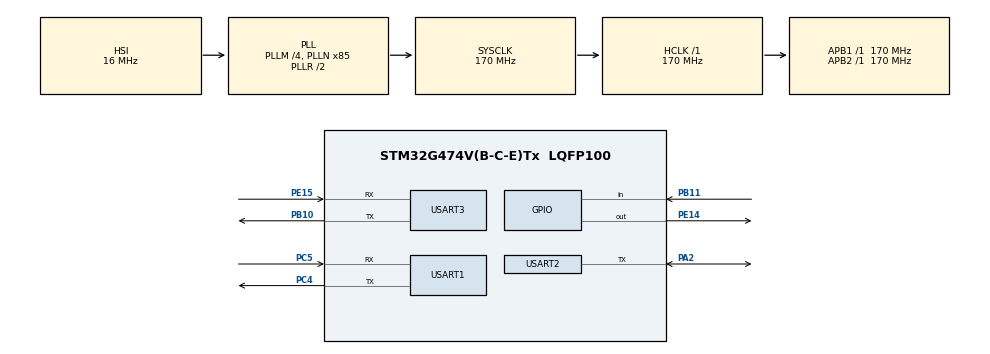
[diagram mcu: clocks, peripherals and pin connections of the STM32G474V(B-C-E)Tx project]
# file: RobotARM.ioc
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FREERTOS.HEAP_NUMBER=4
FREERTOS.INCLUDE_eTaskGetState=1
FREERTOS.INCLUDE_pcTaskGetTaskName=0
FREERTOS.INCLUDE_uxTaskGetStackHighWaterMark=0
FREERTOS.INCLUDE_uxTaskPriorityGet=1
FREERTOS.INCLUDE_vTaskCleanUpResources=1
FREERTOS.INCLUDE_vTaskDelay=1
FREERTOS.INCLUDE_vTaskDelayUntil=1
FREERTOS.INCLUDE_vTaskDelete=1
FREERTOS.INCLUDE_vTaskPrioritySet=1
FREERTOS.INCLUDE_vTaskSuspend=1
FREERTOS.INCLUDE_xEventGroupSetBitFromISR=0
FREERTOS.INCLUDE_xQueueGetMutexHolder=1
FREERTOS.INCLUDE_xSemaphoreGetMutexHolder=0
FREERTOS.INCLUDE_xTaskAbortDelay=0
FREERTOS.INCLUDE_xTaskGetCurrentTaskHandle=0
FREERTOS.INCLUDE_xTaskGetHandle=0
FREERTOS.INCLUDE_xTaskResumeFromISR=1
FREERTOS.MEMORY_ALLOCATION=0
FREERTOS.Tasks01=defaultTask,0,128,StartDefaultTask,Default,NULL,Dynamic,NULL,NULL
FREERTOS.configCHECK_FOR_STACK_OVERFLOW=0
FREERTOS.configENABLE_BACKWARD_COMPATIBILITY=1
FREERTOS.configGENERATE_RUN_TIME_STATS=0
FREERTOS.configIDLE_SHOULD_YIELD=1
FREERTOS.configLIBRARY_LOWEST_INTERRUPT_PRIORITY=15
FREERTOS.configLIBRARY_MAX_SYSCALL_INTERRUPT_PRIORITY=5
FREERTOS.configMAX_CO_ROUTINE_PRIORITIES=2
FREERTOS.configMAX_PRIORITIES=7
FREERTOS.configMAX_TASK_NAME_LEN=16
FREERTOS.configMINIMAL_STACK_SIZE=128
FREERTOS.configQUEUE_REGISTRY_SIZE=8
FREERTOS.configRECORD_STACK_HIGH_ADDRESS=0
FREERTOS.configTICK_RATE_HZ=1000
FREERTOS.configTOTAL_HEAP_SIZE=2048
FREERTOS.configUSE_APPLICATION_TASK_TAG=0
FREERTOS.configUSE_COUNTING_SEMAPHORES=1
FREERTOS.configUSE_CO_ROUTINES=0
FREERTOS.configUSE_DAEMON_TASK_STARTUP_HOOK=0
FREERTOS.configUSE_IDLE_HOOK=0
FREERTOS.configUSE_MALLOC_FAILED_HOOK=0
FREERTOS.configUSE_MUTEXES=1
FREERTOS.configUSE_NEWLIB_REENTRANT=0
FREERTOS.configUSE_PREEMPTION=1
FREERTOS.configUSE_RECURSIVE_MUTEXES=1
FREERTOS.configUSE_STATS_FORMATTING_FUNCTIONS=0
FREERTOS.configUSE_TASK_NOTIFICATIONS=1
FREERTOS.configUSE_TICKLESS_IDLE=0
FREERTOS.configUSE_TICK_HOOK=0
FREERTOS.configUSE_TIMERS=0
FREERTOS.configUSE_TRACE_FACILITY=1
FREERTOS.copyHeapFile=1
Mcu.Family=STM32G4
Mcu.Name=STM32G474V(B-C-E)Tx
Mcu.Package=LQFP100
NVIC.PriorityGroup=NVIC_PRIORITYGROUP_4
NVIC.TIM6_DAC_IRQn=true\:0\:0\:false\:false\:true\:false\:true\:true\:true
NVIC.TimeBase=TIM6_DAC_IRQn
NVIC.TimeBaseIP=TIM6
NVIC.USART3_IRQn=true\:5\:0\:false\:false\:true\:true\:true\:true\:true
PA13.Mode=Trace_Asynchronous_SW
PA13.Signal=SYS_JTMS-SWDIO
PA14.Mode=Trace_Asynchronous_SW
PA14.Signal=SYS_JTCK-SWCLK
PA2.Mode=Half_duplex(single_wire_mode)
PA2.Signal=USART2_TX
PB10.Mode=Asynchronous
PB10.Signal=USART3_TX
PB11.Signal=GPIO_Input
PB3.Mode=Trace_Asynchronous_SW
PB3.Signal=SYS_JTDO-SWO
PC4.Mode=Asynchronous
PC4.Signal=USART1_TX
PC5.Mode=Asynchronous
PC5.Signal=USART1_RX
PE14.Signal=GPIO_Output
PE15.Mode=Asynchronous
PE15.Signal=USART3_RX
ProjectManager.HeapSize=0x200
ProjectManager.StackSize=0x400
ProjectManager.TargetToolchain=CMake
RCC.ADC12Freq_Value=170000000
RCC.ADC345Freq_Value=170000000
RCC.AHBFreq_Value=170000000
RCC.APB1Freq_Value=170000000
RCC.APB1TimFreq_Value=170000000
RCC.APB2Freq_Value=170000000
RCC.APB2TimFreq_Value=170000000
RCC.CortexFreq_Value=170000000
RCC.EXTERNAL_CLOCK_VALUE=12288000
RCC.HCLKFreq_Value=170000000
RCC.HSE_VALUE=8000000
RCC.HSI48_VALUE=48000000
RCC.HSI_VALUE=16000000
RCC.LSE_VALUE=32768
RCC.PLLM=RCC_PLLM_DIV4
RCC.PLLN=85
RCC.SYSCLKFreq_VALUE=170000000
RCC.SYSCLKSource=RCC_SYSCLKSOURCE_PLLCLK
RCC.USBFreq_Value=170000000
RCC.VCOOutputFreq_Value=340000000
USART1.VirtualMode-Asynchronous=VM_ASYNC
USART2.VirtualMode-Half_duplex(single_wire_mode)=VM_ASYNC
USART3.VirtualMode-Asynchronous=VM_ASYNC
VP_FREERTOS_VS_CMSIS_V1.Mode=CMSIS_V1
VP_SYS_VS_DBSignals.Mode=DisableDeadBatterySignals
VP_SYS_VS_tim6.Mode=TIM6
board=custom

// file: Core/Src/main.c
/* USER CODE BEGIN Header */
/**
 ******************************************************************************
 * @file           : main.c
 * @brief          : Main program body
 ******************************************************************************
 * @attention
 *
 * Copyright (c) 2026 STMicroelectronics.
 * All rights reserved.
 *
 * This software is licensed under terms that can be found in the LICENSE file
 * in the root directory of this software component.
 * If no LICENSE file comes with this software, it is provided AS-IS.
 *
 ******************************************************************************
 */
/* USER CODE END Header */
#include "main.h"
#include "cmsis_os.h"

/* USER CODE BEGIN Includes */

#include "dynamixel.h"

/* USER CODE END Includes */

/* USER CODE BEGIN PTD */
typedef struct {
  int32_t sensor_anchor_0;
  int32_t sensor_anchor_1;
  int32_t sensor_anchor_2;
  uint16_t dxl_anchor_0;
  uint16_t dxl_anchor_1;
  uint16_t dxl_anchor_2;
} BluetoothServoMap;

/* USER CODE END PTD */

UART_HandleTypeDef huart1;
UART_HandleTypeDef huart2;
UART_HandleTypeDef huart3;

osThreadId defaultTaskHandle;
/* USER CODE BEGIN PV */

#define UART1_RX_BUF_SIZE 64U
#define UART3_RX_BUF_SIZE 64U
volatile uint8_t g_uart1_rx_byte;
volatile uint8_t g_uart1_rx_buf[UART1_RX_BUF_SIZE];
volatile uint8_t g_uart1_rx_index = 0U;
volatile uint8_t g_uart1_rx_ready = 0U;
volatile uint8_t g_uart3_rx_byte;
volatile uint8_t g_uart3_rx_buf[UART3_RX_BUF_SIZE];
volatile uint8_t g_uart3_rx_index = 0U;
volatile uint8_t g_uart3_rx_ready = 0U;

static const BluetoothServoMap g_bluetooth_servo_maps[DXL_SERVO_COUNT] = {
    {-90, 0, 90, 2644U, 1628U, 623U},
    {-90, 0, 90, 268U, 562U, 876U},
    {1023, 512, 0, 739U, 450U, 162U},
    {1023, 512, 0, 824U, 507U, 190U},
    {-90, 0, 90, 775U, 450U, 202U},
    {1023, 512, 0, 851U, 551U, 253U},
};

volatile uint16_t g_expected_positions[DXL_SERVO_COUNT] = {1628U, 876U, 528U,
                                                           824U,  490U, 530U};

/* USER CODE END PV */

void SystemClock_Config(void);
static void MX_GPIO_Init(void);
static void MX_USART1_UART_Init(void);
static void MX_USART2_UART_Init(void);
static void MX_USART3_UART_Init(void);
void StartDefaultTask(void const *argument);

/* USER CODE BEGIN PFP */

static void Console_WriteString(const char *text);
static const char *Dxl_StatusToString(DxlStatus status);

static uint8_t Bluetooth_ParseSignedValue(const volatile uint8_t *buffer, uint8_t *index, int32_t *value)
{
  uint8_t i;
  int32_t sign = 1;
  int32_t parsed_value = 0;
  uint8_t has_digit = 0U;

  if ((buffer == NULL) || (index == NULL) || (value == NULL)) {
    return 0U;
  }

  i = *index;

  if (buffer[i] == '-') {
    sign = -1;
    ++i;
  }

  while ((buffer[i] >= '0') && (buffer[i] <= '9')) {
    parsed_value = (parsed_value * 10) + (int32_t)(buffer[i] - '0');
    has_digit = 1U;
    ++i;
  }

  if (!has_digit) {
    return 0U;
  }

  if ((buffer[i] != ',') && (buffer[i] != '\0')) {
    return 0U;
  }

  *value = parsed_value * sign;
  *index = i;
  return 1U;
}

static int32_t Bluetooth_MapLinearClamped(int32_t input,
                                          int32_t input_start,
                                          int32_t input_end,
                                          int32_t output_start,
                                          int32_t output_end)
{
  int32_t clamped_input = input;
  int32_t input_low;
  int32_t input_high;
  int64_t numerator;
  int32_t denominator;

  if (input_start == input_end) {
    return output_start;
  }

  input_low = (input_start < input_end) ? input_start : input_end;
  input_high = (input_start < input_end) ? input_end : input_start;

  if (clamped_input < input_low) {
    clamped_input = input_low;
  } else if (clamped_input > input_high) {
    clamped_input = input_high;
  }

  numerator = (int64_t)(clamped_input - input_start) * (int64_t)(output_end - output_start);
  denominator = input_end - input_start;

  return output_start + (int32_t)(numerator / denominator);
}

static uint16_t Bluetooth_MapSensorToGoal(uint8_t servo_index, int32_t sensor_value)
{
  const BluetoothServoMap *map;
  int32_t mapped_goal;

  if (servo_index >= DXL_SERVO_COUNT) {
    return 0U;
  }

  map = &g_bluetooth_servo_maps[servo_index];

  if (map->sensor_anchor_0 <= map->sensor_anchor_2) {
    if (sensor_value <= map->sensor_anchor_0) {
      return map->dxl_anchor_0;
    }
    if (sensor_value >= map->sensor_anchor_2) {
      return map->dxl_anchor_2;
    }
    if (sensor_value <= map->sensor_anchor_1) {
      mapped_goal = Bluetooth_MapLinearClamped(sensor_value,
                                               map->sensor_anchor_0,
                                               map->sensor_anchor_1,
                                               (int32_t)map->dxl_anchor_0,
                                               (int32_t)map->dxl_anchor_1);
    } else {
      mapped_goal = Bluetooth_MapLinearClamped(sensor_value,
                                               map->sensor_anchor_1,
                                               map->sensor_anchor_2,
                                               (int32_t)map->dxl_anchor_1,
                                               (int32_t)map->dxl_anchor_2);
    }
  } else {
    if (sensor_value >= map->sensor_anchor_0) {
      return map->dxl_anchor_0;
    }
    if (sensor_value <= map->sensor_anchor_2) {
      return map->dxl_anchor_2;
    }
    if (sensor_value >= map->sensor_anchor_1) {
      mapped_goal = Bluetooth_MapLinearClamped(sensor_value,
                                               map->sensor_anchor_0,
                                               map->sensor_anchor_1,
                                               (int32_t)map->dxl_anchor_0,
                                               (int32_t)map->dxl_anchor_1);
    } else {
      mapped_goal = Bluetooth_MapLinearClamped(sensor_value,
                                               map->sensor_anchor_1,
                                               map->sensor_anchor_2,
                                               (int32_t)map->dxl_anchor_1,
                                               (int32_t)map->dxl_anchor_2);
    }
  }

  if (mapped_goal < 0) {
    return 0U;
  }

  return (uint16_t)mapped_goal;
}

static uint8_t Motion_ParseSensorFrame(const volatile uint8_t *buffer,
                                       uint16_t positions[DXL_SERVO_COUNT])
{
  int32_t sensor_values[DXL_SERVO_COUNT] = {0};
  uint8_t count = 0U;
  uint8_t i = 2U;

  if ((buffer == NULL) || (positions == NULL)) {
    return 0U;
  }

  if ((buffer[0] != 'P') || (buffer[1] != ',')) {
    return 0U;
  }

  while (buffer[i] != '\0') {
    if (count >= DXL_SERVO_COUNT) {
      return 0U;
    }

    if (!Bluetooth_ParseSignedValue(buffer, &i, &sensor_values[count])) {
      return 0U;
    }

    ++count;

    if (buffer[i] == ',') {
      ++i;

      if (buffer[i] == '\0') {
        return 0U;
      }
    }
  }

  if (count != DXL_SERVO_COUNT) {
    return 0U;
  }

  for (i = 0U; i < DXL_SERVO_COUNT; ++i) {
    positions[i] = Bluetooth_MapSensorToGoal(i, sensor_values[i]);
  }

  return 1U;
}

static void Motion_ExecuteSensorFrame(const volatile uint8_t *buffer,
                                      const char *source_tag)
{
  uint16_t positions[DXL_SERVO_COUNT] = {0};
  DxlStatus status;

  if (!Motion_ParseSensorFrame(buffer, positions)) {
    Console_WriteString("\r\n[");
    Console_WriteString(source_tag);
    Console_WriteString("] Invalid parameter format\r\n> ");
    return;
  }

  status = Dxl_MoveArmSafe(positions);
  if (status == DXL_STATUS_OK) {
    Console_WriteString("\r\n[");
    Console_WriteString(source_tag);
    Console_WriteString("] Move OK\r\n> ");
  } else {
    Console_WriteString("\r\n[");
    Console_WriteString(source_tag);
    Console_WriteString("] Move Failed: ");
    Console_WriteString(Dxl_StatusToString(status));
    Console_WriteString("\r\n> ");
  }
}

static void Bluetooth_ProcessCommand(void)
{
  if (!g_uart3_rx_ready) {
    return;
  }

  g_uart3_rx_ready = 0U;

  if (g_uart3_rx_buf[0] == 'P' && g_uart3_rx_buf[1] == ',') {
    Motion_ExecuteSensorFrame(g_uart3_rx_buf, "BT");
  }
}

static void Console_WriteString(const char *text) {
  size_t length = 0U;

  if (text == NULL) {
    return;
  }

  while (text[length] != '\0') {
    ++length;
  }

  if (length > 0U) {
    (void)HAL_UART_Transmit(&huart1, (uint8_t *)text, (uint16_t)length, 100U);
  }
}

static void Console_PrintBanner(void) {
  Console_WriteString("\r\nRobotARM ready\r\n");
  Console_WriteString("h: move home\r\n");
  Console_WriteString("s: move stretched\r\n");
  Console_WriteString("?: show help\r\n> ");
}

static void Console_ProcessCommand(void) {
  if (!g_uart1_rx_ready) {
    return;
  }

  g_uart1_rx_ready = 0U;

  if ((g_uart1_rx_buf[0] == 'P') && (g_uart1_rx_buf[1] == ',')) {
    Motion_ExecuteSensorFrame(g_uart1_rx_buf, "UART1");
    return;
  }

  switch (g_uart1_rx_buf[0]) {
  case 'h':
  case 'H':
    g_arm_move_request = ARM_MOVE_REQUEST_HOME;
    Console_WriteString("\r\nHOME requested\r\n> ");
    break;

  case 's':
  case 'S':
    g_arm_move_request = ARM_MOVE_REQUEST_STRETCHED;
    Console_WriteString("\r\nSTRETCHED requested\r\n> ");
    break;

  case '?':
  case 'm':
  case 'M':
    Console_WriteString("\r\nh: move home\r\n");
    Console_WriteString("s: move stretched\r\n");
    Console_WriteString("?: show help\r\n> ");
    break;

  case '\r':
  case '\n':
  case '\0':
    break;

  default:
    Console_WriteString("\r\nUnknown command\r\n> ");
    break;
  }
}

static void Console_WriteUInt(uint32_t value) {
  char buffer[11];
  uint8_t index = 0U;

  if (value == 0U) {
    Console_WriteString("0");
    return;
  }

  while ((value > 0U) && (index < (uint8_t)sizeof(buffer))) {
    buffer[index] = (char)('0' + (value % 10U));
    value /= 10U;
    ++index;
  }

  while (index > 0U) {
    --index;
    (void)HAL_UART_Transmit(&huart1, (uint8_t *)&buffer[index], 1U, 100U);
  }
}

static const char *Dxl_StatusToString(DxlStatus status) {
  switch (status) {
  case DXL_STATUS_OK:
    return "OK";
  case DXL_STATUS_ERROR:
    return "ERROR";
  case DXL_STATUS_TIMEOUT:
    return "TIMEOUT";
  case DXL_STATUS_BAD_PARAM:
    return "BAD_PARAM";
  case DXL_STATUS_BAD_PACKET:
    return "BAD_PACKET";
  case DXL_STATUS_BAD_CHECKSUM:
    return "BAD_CHECKSUM";
  case DXL_STATUS_HAL_ERROR:
    return "HAL_ERROR";
  case DXL_STATUS_RANGE:
    return "RANGE";
  default:
    return "UNKNOWN";
  }
}

static void Console_ReportArmMoveStatus(uint32_t request, DxlStatus status) {
  const char *pose_name;

  if (request == ARM_MOVE_REQUEST_HOME) {
    pose_name = "HOME";
  } else if (request == ARM_MOVE_REQUEST_STRETCHED) {
    pose_name = "STRETCHED";
  } else {
    pose_name = "UNKNOWN";
  }

  Console_WriteString("\r\n");
  Console_WriteString(pose_name);
  Console_WriteString(" move ");
  Console_WriteString((status == DXL_STATUS_OK) ? "done" : "failed");
  Console_WriteString(" (");
  Console_WriteString(Dxl_StatusToString(status));
  Console_WriteString(")\r\n> ");
}

static void Console_ReportServoDebugState(void) {
  uint8_t index;

  for (index = 0U; index < DXL_SERVO_COUNT; ++index) {
    uint8_t id = g_dxl_servo_configs[index].id;
    uint8_t torque_enabled = 0U;
    uint8_t torque_error = 0xFFU;
    uint16_t goal_position = 0U;
    uint8_t goal_error = 0xFFU;
    DxlPresentPosition present_position;
    DxlStatus torque_status;
    DxlStatus goal_status;
    DxlStatus present_status;

    torque_status = Dxl_ReadTorqueEnable(id, &torque_enabled, &torque_error);
    goal_status = Dxl_ReadGoalPosition(id, &goal_position, &goal_error);
    present_status = Dxl_GetPresentPosition(id, &present_position);

    Console_WriteString("ID");
    Console_WriteUInt(id);
    Console_WriteString(" T=");
    if (torque_status == DXL_STATUS_OK) {
      Console_WriteUInt(torque_enabled);
    } else {
      Console_WriteString("ERR:");
      Console_WriteString(Dxl_StatusToString(torque_status));
    }

    Console_WriteString(" G=");
    if (goal_status == DXL_STATUS_OK) {
      Console_WriteUInt(goal_position);
    } else {
      Console_WriteString("ERR:");
      Console_WriteString(Dxl_StatusToString(goal_status));
    }

    Console_WriteString(" P=");
    if ((present_status == DXL_STATUS_OK) && (present_position.valid != 0U)) {
      Console_WriteUInt(present_position.position);
    } else {
      Console_WriteString("ERR");
    }

    Console_WriteString("\r\n");
  }

  Console_WriteString("> ");
}

/* USER CODE END 0 */

int main(void) {

  /* MCU Configuration--------------------------------------------------------*/

  /* Reset of all peripherals, Initializes the Flash interface and the Systick.
   */
  HAL_Init();

  /* Configure the system clock */
  SystemClock_Config();

  /* Initialize all configured peripherals */
  MX_GPIO_Init();
  MX_USART1_UART_Init();
  MX_USART2_UART_Init();
  MX_USART3_UART_Init();
  /* USER CODE BEGIN 2 */

  Dxl_Init(&huart2);
  Console_PrintBanner();
  HAL_UART_Receive_IT(&huart1, (uint8_t *)&g_uart1_rx_byte, 1U);
  HAL_UART_Receive_IT(&huart3, (uint8_t *)&g_uart3_rx_byte, 1U);

  /* USER CODE END 2 */

  /* Create the thread(s) */
  /* definition and creation of defaultTask */
  osThreadDef(defaultTask, StartDefaultTask, osPriorityNormal, 0, 128);
  defaultTaskHandle = osThreadCreate(osThread(defaultTask), NULL);

  /* Start scheduler */
  osKernelStart();

  /* We should never get here as control is now taken by the scheduler */

  /* Infinite loop */
  while (1) {

    /* USER CODE BEGIN 3 */
    /* Scheduler owns application execution after osKernelStart(). */
  }
  /* USER CODE END 3 */
}

void SystemClock_Config(void) {
  RCC_OscInitTypeDef RCC_OscInitStruct = {0};
  RCC_ClkInitTypeDef RCC_ClkInitStruct = {0};

  /** Configure the main internal regulator output voltage
   */
  HAL_PWREx_ControlVoltageScaling(PWR_REGULATOR_VOLTAGE_SCALE1_BOOST);

  /** Initializes the RCC Oscillators according to the specified parameters
   * in the RCC_OscInitTypeDef structure.
   */
  RCC_OscInitStruct.OscillatorType = RCC_OSCILLATORTYPE_HSI;
  RCC_OscInitStruct.HSIState = RCC_HSI_ON;
  RCC_OscInitStruct.HSICalibrationValue = RCC_HSICALIBRATION_DEFAULT;
  RCC_OscInitStruct.PLL.PLLState = RCC_PLL_ON;
  RCC_OscInitStruct.PLL.PLLSource = RCC_PLLSOURCE_HSI;
  RCC_OscInitStruct.PLL.PLLM = RCC_PLLM_DIV4;
  RCC_OscInitStruct.PLL.PLLN = 85;
  RCC_OscInitStruct.PLL.PLLP = RCC_PLLP_DIV2;
  RCC_OscInitStruct.PLL.PLLQ = RCC_PLLQ_DIV2;
  RCC_OscInitStruct.PLL.PLLR = RCC_PLLR_DIV2;
  if (HAL_RCC_OscConfig(&RCC_OscInitStruct) != HAL_OK) {
    Error_Handler();
  }

  /** Initializes the CPU, AHB and APB buses clocks
   */
  RCC_ClkInitStruct.ClockType = RCC_CLOCKTYPE_HCLK | RCC_CLOCKTYPE_SYSCLK |
                                RCC_CLOCKTYPE_PCLK1 | RCC_CLOCKTYPE_PCLK2;
  RCC_ClkInitStruct.SYSCLKSource = RCC_SYSCLKSOURCE_PLLCLK;
  RCC_ClkInitStruct.AHBCLKDivider = RCC_SYSCLK_DIV1;
  RCC_ClkInitStruct.APB1CLKDivider = RCC_HCLK_DIV1;
  RCC_ClkInitStruct.APB2CLKDivider = RCC_HCLK_DIV1;

  if (HAL_RCC_ClockConfig(&RCC_ClkInitStruct, FLASH_LATENCY_4) != HAL_OK) {
    Error_Handler();
  }
}

static void MX_USART1_UART_Init(void) {

  huart1.Instance = USART1;
  huart1.Init.BaudRate = 115200;
  huart1.Init.WordLength = UART_WORDLENGTH_8B;
  huart1.Init.StopBits = UART_STOPBITS_1;
  huart1.Init.Parity = UART_PARITY_NONE;
  huart1.Init.Mode = UART_MODE_TX_RX;
  huart1.Init.HwFlowCtl = UART_HWCONTROL_NONE;
  huart1.Init.OverSampling = UART_OVERSAMPLING_16;
  huart1.Init.OneBitSampling = UART_ONE_BIT_SAMPLE_DISABLE;
  huart1.Init.ClockPrescaler = UART_PRESCALER_DIV1;
  huart1.AdvancedInit.AdvFeatureInit = UART_ADVFEATURE_NO_INIT;
  if (HAL_UART_Init(&huart1) != HAL_OK) {
    Error_Handler();
  }
  if (HAL_UARTEx_SetTxFifoThreshold(&huart1, UART_TXFIFO_THRESHOLD_1_8) !=
      HAL_OK) {
    Error_Handler();
  }
  if (HAL_UARTEx_SetRxFifoThreshold(&huart1, UART_RXFIFO_THRESHOLD_1_8) !=
      HAL_OK) {
    Error_Handler();
  }
  if (HAL_UARTEx_DisableFifoMode(&huart1) != HAL_OK) {
    Error_Handler();
  }
}

static void MX_USART2_UART_Init(void) {

  huart2.Instance = USART2;
  huart2.Init.BaudRate = 115200;
  huart2.Init.WordLength = UART_WORDLENGTH_8B;
  huart2.Init.StopBits = UART_STOPBITS_1;
  huart2.Init.Parity = UART_PARITY_NONE;
  huart2.Init.Mode = UART_MODE_TX_RX;
  huart2.Init.HwFlowCtl = UART_HWCONTROL_NONE;
  huart2.Init.OverSampling = UART_OVERSAMPLING_16;
  huart2.Init.OneBitSampling = UART_ONE_BIT_SAMPLE_DISABLE;
  huart2.Init.ClockPrescaler = UART_PRESCALER_DIV1;
  huart2.AdvancedInit.AdvFeatureInit = UART_ADVFEATURE_NO_INIT;
  if (HAL_HalfDuplex_Init(&huart2) != HAL_OK) {
    Error_Handler();
  }
  if (HAL_UARTEx_SetTxFifoThreshold(&huart2, UART_TXFIFO_THRESHOLD_1_8) !=
      HAL_OK) {
    Error_Handler();
  }
  if (HAL_UARTEx_SetRxFifoThreshold(&huart2, UART_RXFIFO_THRESHOLD_1_8) !=
      HAL_OK) {
    Error_Handler();
  }
  if (HAL_UARTEx_DisableFifoMode(&huart2) != HAL_OK) {
    Error_Handler();
  }
}

static void MX_USART3_UART_Init(void) {

  huart3.Instance = USART3;
  huart3.Init.BaudRate = 115200;
  huart3.Init.WordLength = UART_WORDLENGTH_8B;
  huart3.Init.StopBits = UART_STOPBITS_1;
  huart3.Init.Parity = UART_PARITY_NONE;
  huart3.Init.Mode = UART_MODE_TX_RX;
  huart3.Init.HwFlowCtl = UART_HWCONTROL_NONE;
  huart3.Init.OverSampling = UART_OVERSAMPLING_16;
  huart3.Init.OneBitSampling = UART_ONE_BIT_SAMPLE_DISABLE;
  huart3.Init.ClockPrescaler = UART_PRESCALER_DIV1;
  huart3.AdvancedInit.AdvFeatureInit = UART_ADVFEATURE_NO_INIT;
  if (HAL_UART_Init(&huart3) != HAL_OK) {
    Error_Handler();
  }
  if (HAL_UARTEx_SetTxFifoThreshold(&huart3, UART_TXFIFO_THRESHOLD_1_8) !=
      HAL_OK) {
    Error_Handler();
  }
  if (HAL_UARTEx_SetRxFifoThreshold(&huart3, UART_RXFIFO_THRESHOLD_1_8) !=
      HAL_OK) {
    Error_Handler();
  }
  if (HAL_UARTEx_DisableFifoMode(&huart3) != HAL_OK) {
    Error_Handler();
  }
}

static void MX_GPIO_Init(void) {
  GPIO_InitTypeDef GPIO_InitStruct = {0};

  /* GPIO Ports Clock Enable */
  __HAL_RCC_GPIOA_CLK_ENABLE();
  __HAL_RCC_GPIOC_CLK_ENABLE();
  __HAL_RCC_GPIOE_CLK_ENABLE();
  __HAL_RCC_GPIOB_CLK_ENABLE();

  /*Configure GPIO pin Output Level */
  HAL_GPIO_WritePin(GPIOE, GPIO_PIN_14, GPIO_PIN_RESET);

  /*Configure GPIO pin : PE14 */
  GPIO_InitStruct.Pin = GPIO_PIN_14;
  GPIO_InitStruct.Mode = GPIO_MODE_OUTPUT_PP;
  GPIO_InitStruct.Pull = GPIO_NOPULL;
  GPIO_InitStruct.Speed = GPIO_SPEED_FREQ_LOW;
  HAL_GPIO_Init(GPIOE, &GPIO_InitStruct);

  /*Configure GPIO pin : PB11 */
  GPIO_InitStruct.Pin = GPIO_PIN_11;
  GPIO_InitStruct.Mode = GPIO_MODE_INPUT;
  GPIO_InitStruct.Pull = GPIO_NOPULL;
  HAL_GPIO_Init(GPIOB, &GPIO_InitStruct);

}

/* USER CODE BEGIN 4 */

void HAL_UART_RxCpltCallback(UART_HandleTypeDef *huart) {
  if (huart->Instance == USART1) {
    if ((g_uart1_rx_index == 0U) &&
        ((g_uart1_rx_byte == 'h') || (g_uart1_rx_byte == 'H') ||
         (g_uart1_rx_byte == 's') || (g_uart1_rx_byte == 'S') ||
         (g_uart1_rx_byte == '?') || (g_uart1_rx_byte == 'm') ||
         (g_uart1_rx_byte == 'M'))) {
      g_uart1_rx_buf[0] = g_uart1_rx_byte;
      g_uart1_rx_buf[1] = '\0';
      g_uart1_rx_ready = 1U;
      g_uart1_rx_index = 0U;
    } else if ((g_uart1_rx_byte == '\n') || (g_uart1_rx_byte == '\r')) {
      if (g_uart1_rx_index > 0U) {
        g_uart1_rx_buf[g_uart1_rx_index] = '\0';
        g_uart1_rx_ready = 1U;
      }
      g_uart1_rx_index = 0U;
    } else {
      g_uart1_rx_buf[g_uart1_rx_index++] = g_uart1_rx_byte;
      if (g_uart1_rx_index >= (UART1_RX_BUF_SIZE - 1U)) {
        g_uart1_rx_buf[UART1_RX_BUF_SIZE - 1U] = '\0';
        g_uart1_rx_ready = 1U;
        g_uart1_rx_index = 0U;
      }
    }
    HAL_UART_Receive_IT(&huart1, (uint8_t *)&g_uart1_rx_byte, 1U);
  } else if (huart->Instance == USART3) {
    if (g_uart3_rx_byte == '\n' || g_uart3_rx_byte == '\r') {
      g_uart3_rx_buf[g_uart3_rx_index] = '\0';
      g_uart3_rx_ready = 1U;
      g_uart3_rx_index = 0U;
    } else {
      g_uart3_rx_buf[g_uart3_rx_index++] = g_uart3_rx_byte;
      if (g_uart3_rx_index >= (UART3_RX_BUF_SIZE - 1U)) {
        g_uart3_rx_buf[UART3_RX_BUF_SIZE - 1U] = '\0';
        g_uart3_rx_ready = 1U;
        g_uart3_rx_index = 0U;
      }
    }
    HAL_UART_Receive_IT(&huart3, (uint8_t *)&g_uart3_rx_byte, 1U);
  }
}

/* USER CODE END 4 */

void StartDefaultTask(void const *argument) {
  /* USER CODE BEGIN 5 */
  uint32_t pending_request;

  /* Infinite loop */
  for (;;) {
    Console_ProcessCommand();
    Bluetooth_ProcessCommand();
    Dxl_Process(HAL_GetTick());
    pending_request = g_arm_move_request;
    Dxl_ProcessArmMoveRequest();
    if ((pending_request == ARM_MOVE_REQUEST_HOME) ||
        (pending_request == ARM_MOVE_REQUEST_STRETCHED)) {
      Console_ReportArmMoveStatus(pending_request,
                                  (DxlStatus)g_arm_move_last_status);
      if (g_arm_move_last_status == DXL_STATUS_OK) {
        Console_ReportServoDebugState();
      }
    }
    osDelay(1);
  }
  /* USER CODE END 5 */
}

void HAL_TIM_PeriodElapsedCallback(TIM_HandleTypeDef *htim) {
  if (htim->Instance == TIM6) {
    HAL_IncTick();
  }
}

void Error_Handler(void) {
  __disable_irq();
  while (1) {
  }
}
#ifdef USE_FULL_ASSERT
/**
 * @brief  Reports the name of the source file and the source line number
 *         where the assert_param error has occurred.
 * @param  file: pointer to the source file name
 * @param  line: assert_param error line source number
 * @retval None
 */
void assert_failed(uint8_t *file, uint32_t line) {
  /* USER CODE BEGIN 6 */
  /* User can add his own implementation to report the file name and line
     number, ex: printf("Wrong parameters value: file %s on line %d\r\n", file,
     line) */
  /* USER CODE END 6 */
}
#endif /* USE_FULL_ASSERT */
